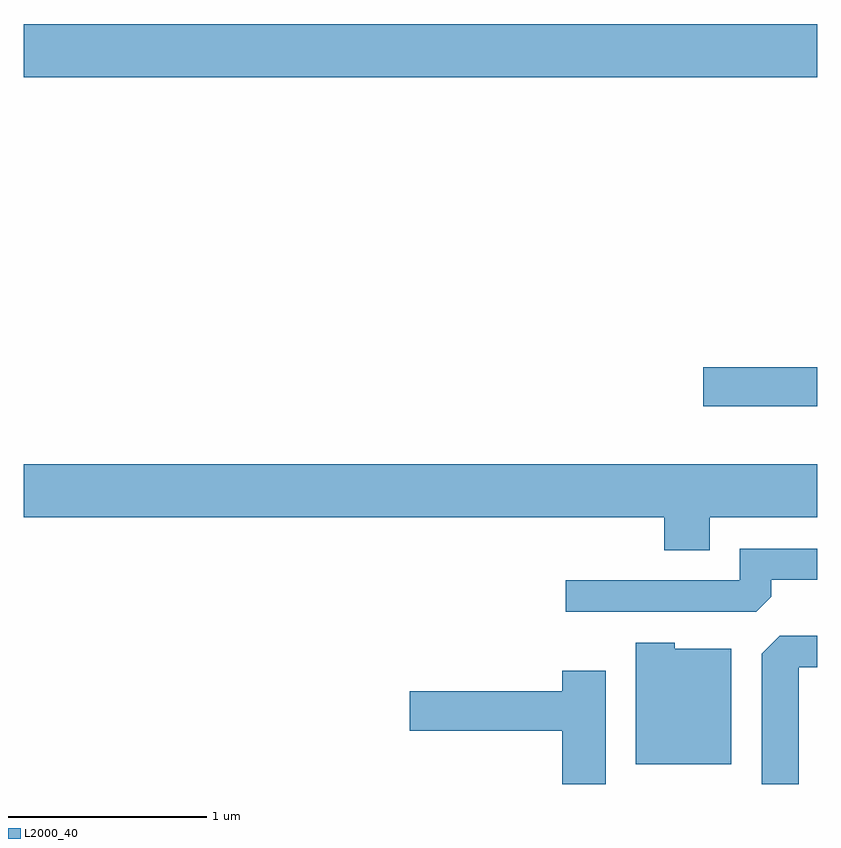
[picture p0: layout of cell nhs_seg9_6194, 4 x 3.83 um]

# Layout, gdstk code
import gdstk
lib = gdstk.Library(unit=1e-6, precision=1e-09)
def R(c, l, rs):  # rectangles x0, y0, x1, y1
    for r in rs: c.add(gdstk.rectangle(r[:2], r[2:], *l))
def P(c, l, *ps):  # polygons
    for p in ps: c.add(gdstk.Polygon(p, *l))
L2000_40 = (2000, 40)

nhs_seg9_6194 = lib.new_cell('nhs_seg9_6194')
R(nhs_seg9_6194, L2000_40, [(371.036,2032.336,371.611,2032.534), (367.611,2033.996,371.611,2034.264)])
P(nhs_seg9_6194, L2000_40, [(371.069,2031.776),(371.611,2031.776),(371.611,2032.044),(367.611,2032.044),(367.611,2031.776),(370.841,2031.776),(370.841,2031.611),(371.069,2031.611)],
  [(371.379,2031.377),(371.379,2031.461),(371.611,2031.461),(371.611,2031.619),(371.221,2031.619),(371.221,2031.459),(370.343,2031.459),(370.343,2031.301),(371.304,2031.301)],
  [(371.519,2031.021),(371.611,2031.021),(371.611,2031.179),(371.422,2031.179),(371.331,2031.089),(371.331,2030.432),(371.519,2030.432)],
  [(371.179,2031.114),(370.894,2031.114),(370.894,2031.144),(370.696,2031.144),(370.696,2030.531),(371.179,2030.531)],
  [(370.544,2031.004),(370.326,2031.004),(370.326,2030.899),(369.556,2030.899),(369.556,2030.701),(370.326,2030.701),(370.326,2030.432),(370.544,2030.432)])

lib.write_gds('nhs_seg9_6194.gds')
